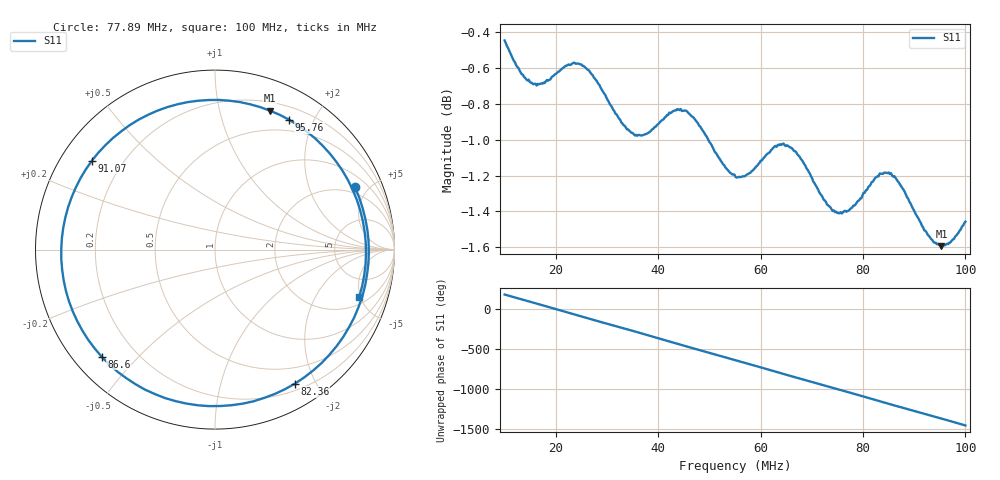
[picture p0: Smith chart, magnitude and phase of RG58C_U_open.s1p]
# HZ S RI R 50
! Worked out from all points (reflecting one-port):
!   404 points, 10 MHz to 100 MHz, reference 50 ohm
!   lowest |S11| = -1.6 dB at 95.31 MHz (marker M1), VSWR 10.93, Z = 14.2 + j71.6 ohm
!   phase of S11 starts at 176 deg and turns -1635 deg over the sweep
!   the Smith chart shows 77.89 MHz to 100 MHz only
!   S11 on the Smith chart (normalised r, x): 77.89 MHz: 1.60, +4.09; 82.36 MHz: 0.28, -1.72; 86.6 MHz: 0.08, -0.40; 91.07 MHz: 0.09, +0.32; 95.76 MHz: 0.35, +1.67; 100 MHz: 2.64, -4.88
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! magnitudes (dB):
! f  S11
! 10 MHz  -0.4
! 13.35 MHz  -0.6
! 15.36 MHz  -0.7
! 17.59 MHz  -0.7
! 21.39 MHz  -0.6
! 23.85 MHz  -0.6
! 26.08 MHz  -0.6
! 32.56 MHz  -0.9
! 35.01 MHz  -1.0
! 37.02 MHz  -1.0
! 43.95 MHz  -0.8
! 47.3 MHz  -0.9
! 52.66 MHz  -1.1
! 55.11 MHz  -1.2
! 58.01 MHz  -1.2
! 62.93 MHz  -1.0
! 66.28 MHz  -1.1
! 73.65 MHz  -1.4
! 77.67 MHz  -1.4
! 77.89 MHz  -1.4
! 82.36 MHz  -1.2
! 84.59 MHz  -1.2
! 86.6 MHz  -1.2
! 88.83 MHz  -1.3
! 91.07 MHz  -1.5
! 95.31 MHz  -1.6
! 95.76 MHz  -1.6
! 100 MHz  -1.5
